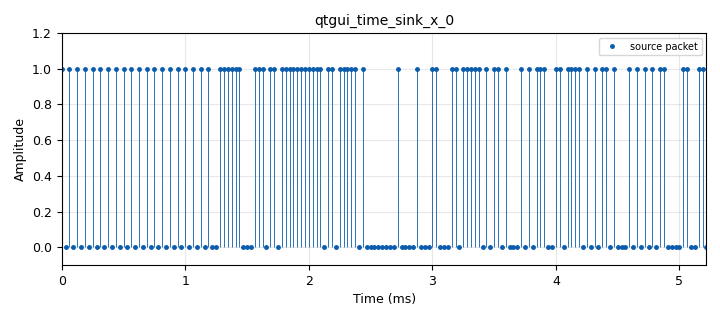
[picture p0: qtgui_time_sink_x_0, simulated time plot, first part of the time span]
options:
  parameters:
    author: knud
    generate_options: qt_gui
    id: pdu_gen
    output_language: python
    title: Not titled yet
  states: {}

blocks:
- name: fec_rate
  id: variable
  parameters:
    value: 1/2
  states: {}
- name: header_len
  id: variable
  parameters:
    value: '7'
  states: {}
- name: interval
  id: variable
  parameters:
    value: '0.400'
  states: {}
- name: max_pipe_payload_len
  id: variable
  parameters:
    value: '128'
  states: {}
- name: mpdu_header_len
  id: variable
  parameters:
    value: 3*3
  states: {}
- name: mpdu_payload_len
  id: variable
  parameters:
    value: max_pipe_payload_len- mpdu_header_len
  states: {}
- name: packet_len
  id: variable
  parameters:
    value: '4'
  states: {state: disabled}
- name: samp_rate
  id: variable
  parameters:
    value: '32000'
  states: {}
- name: blocks_char_to_float_0
  id: blocks_char_to_float
  parameters:
    scale: '1'
  states: {}
- name: blocks_message_debug_0
  id: blocks_message_debug
  parameters: {}
  states: {}
- name: blocks_message_strobe_0
  id: blocks_message_strobe
  parameters:
    msg: pmt.cons(pmt.make_dict(), pmt.init_u8vector(10, (1,2,3,4,5,6,7,8,9,10)))
    period: '1000'
  states: {}
- name: blocks_message_strobe_0_1
  id: blocks_message_strobe
  parameters:
    msg: ' pmt.cons(pmt.PMT_NIL, pmt.init_u8vector(10, (1,2,3,4,5,6,7,8,9,10)))'
    period: '100'
  states: {state: disabled}
- name: blocks_pdu_to_tagged_stream_0
  id: blocks_pdu_to_tagged_stream
  parameters:
    tag: packet_len
    type: byte
  states: {}
- name: blocks_random_pdu_0
  id: blocks_random_pdu
  parameters:
    length_modulo: '1'
    mask: '0xFF'
    maxsize: int(np.floor(mpdu_payload_len*fec_rate))
    minsize: int(np.floor(mpdu_payload_len*fec_rate))
  states: {}
- name: blocks_tagged_stream_to_pdu_0
  id: blocks_tagged_stream_to_pdu
  parameters:
    tag: packet_len
    type: byte
  states: {}
- name: blocks_throttle_0
  id: blocks_throttle
  parameters:
    samples_per_second: samp_rate
    type: byte
  states: {}
- name: blocks_unpack_k_bits_bb_0
  id: blocks_unpack_k_bits_bb
  parameters:
    k: '8'
  states: {}
- name: epy_block_0
  id: epy_block
  parameters:
    _source_code: |
      """
      Embedded Python Block
      """

      import numpy as np
      from gnuradio import gr
      import pmt

      class blk(gr.sync_block):
          """Packet Format"""

          def __init__(self):
              gr.sync_block.__init__(self,
                  name = "Packet Format",
                  in_sig = None,
                  out_sig = None)
              self.message_port_register_in(pmt.intern('pdu_in'))
              self.message_port_register_out(pmt.intern('pdu_out'))
              self.set_msg_handler(pmt.intern('pdu_in'), self.handle_msg)

          def handle_msg(self, msg):
              inMsg = pmt.to_python (msg)
              pld = inMsg[1]
              # print (pld)
              mLen = len(pld)
              # print (mLen)
              if (mLen > 0):
                  # 10 preamble bytes, 4 access code bytes
                  char_list = [0xAA,0xAA,0xAA,0xAA,0xAA,0x7E]
                  char_list.append (mLen & 255)
                  char_list.extend (pld)
                  print (char_list)
                  out_len = len(char_list)
                  # print (out_len)
                  self.message_port_pub(pmt.intern('pdu_out'), pmt.cons(pmt.PMT_NIL,pmt.init_u8vector(out_len,(char_list))))
  states: {}
- name: fec_tagged_encoder_0
  id: fec_tagged_encoder
  parameters:
    encoder: encoder_variable
    lentagname: '"pkt_len"'
    mtu: '1500'
  states: {}
- name: import_0_0
  id: import
  parameters:
    imports: import numpy as np
  states: {}
- name: msg_strobe
  id: blocks_message_strobe
  parameters:
    comment: Emits pmt.PMT_T
    msg: pmt.PMT_T
    period: int(interval*1000)
  states: {state: disabled}
- name: qtgui_time_sink_x_0
  id: qtgui_time_sink_x
  parameters:
    label1: source packet
    marker1: '0'
    size: (max_pipe_payload_len+header_len)*8*2
    srate: samp_rate
    stemplot: 'True'
    tr_mode: qtgui.TRIG_MODE_TAG
    tr_tag: '"packet_len"'
    type: float
    ymax: '1.2'
    ymin: '-0.1'
  states: {}

connections:
- [blocks_char_to_float_0, '0', qtgui_time_sink_x_0, '0']
- [blocks_message_strobe_0, strobe, blocks_random_pdu_0, generate]
- [blocks_message_strobe_0_1, strobe, epy_block_0, pdu_in]
- [blocks_pdu_to_tagged_stream_0, '0', blocks_throttle_0, '0']
- [blocks_pdu_to_tagged_stream_0, '0', blocks_unpack_k_bits_bb_0, '0']
- [blocks_random_pdu_0, pdus, epy_block_0, pdu_in]
- [blocks_tagged_stream_to_pdu_0, pdus, blocks_message_debug_0, print_pdu]
- [blocks_throttle_0, '0', blocks_tagged_stream_to_pdu_0, '0']
- [blocks_unpack_k_bits_bb_0, '0', blocks_char_to_float_0, '0']
- [epy_block_0, pdu_out, blocks_pdu_to_tagged_stream_0, pdus]
- [msg_strobe, strobe, blocks_random_pdu_0, generate]

metadata:
  file_format: 1
  grc_version: 3.9.7.0
